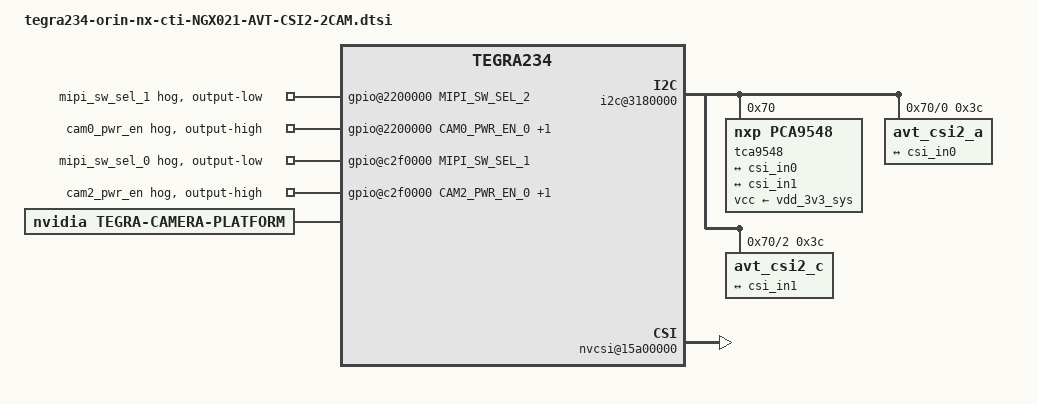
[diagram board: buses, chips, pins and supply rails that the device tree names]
#include "dt-bindings/gpio/tegra234-gpio.h"

#define CAMERA_I2C_MUX_BUS(x) (0x1E + x)

#define MIPI_SW_SEL_1	TEGRA234_AON_GPIO(CC,1)
#define MIPI_SW_SEL_2	TEGRA234_MAIN_GPIO(Q,5)

#define CAM0_PWR_EN_0	TEGRA234_MAIN_GPIO(H,6)
#define CAM1_PWR_EN_0	TEGRA234_MAIN_GPIO(AC,0)
#define CAM2_PWR_EN_0 	TEGRA234_AON_GPIO(CC,2)
#define CAM3_PWR_EN_0	TEGRA234_AON_GPIO(CC,3)

//tegra sinteface and lane polarity
#define I2C0_SINTERFACE "serial_a"
#define I2C1_SINTERFACE "serial_b"
#define I2C2_SINTERFACE "serial_c"
#define I2C3_SINTERFACE "serial_d"

#define MODE0_I2C0_LANES "4"
#define MODE0_I2C1_LANES "2"
#define MODE0_I2C2_LANES "4"
#define MODE0_I2C3_LANES "2"

#define I2C0_LANEPOLARITY "6"
#define I2C1_LANEPOLARITY "6"
#define I2C2_LANEPOLARITY "0"
#define I2C3_LANEPOLARITY "0"

#define VI_CSI_PORT_INDEX0 <0>
#define VI_CSI_PORT_INDEX1 <1>
#define VI_CSI_PORT_INDEX2 <2>
#define VI_CSI_PORT_INDEX3 <3>

//This will serve as the default bus_width...
#define BUS_WIDTH_INDEX0 <4>
#define BUS_WIDTH_INDEX1 <2>
#define BUS_WIDTH_INDEX2 <4>
#define BUS_WIDTH_INDEX3 <2>

#define PIX_CLK_HZ "750000000"
//#define PIX_CLK_HZ "375000000"


#define AVT_MODE_0 \
	discontinuous_clk = "no";  \
    cil_settletime = "0"; \
    embedded_metadata_height = "0"; \
    mclk_khz = "24000"; \
    phy_mode = "DPHY"; \
    dpcm_enable = "false"; \
   	csi_pixel_bit_depth = "4"; \
   	active_w = "5488"; \
   	active_h = "4112"; \
   	pixel_t = "bayer_bggr"; \
    readout_orientation = "0"; \
    line_length = "5488"; \
    inherent_gain = "1"; \
    mclk_multiplier = "31.25"; \
    pix_clk_hz = PIX_CLK_HZ; \
    gain_factor = "16"; \
   	framerate_factor = "1000000"; \
    exposure_factor = "1000000"; \
   	min_gain_val = "16"; \
    max_gain_val = "256"; \
    step_gain_val = "1"; \
    min_hdr_ratio = "1"; \
    max_hdr_ratio = "64"; \
   	min_framerate = "1500000"; \
    max_framerate = "30000000"; \
    step_framerate = "1"; \
    min_exp_time = "34"; \
    max_exp_time = "550385"; \
    step_exp_time = "1";

#define AVT_NODE_COMMON \
	status = "okay"; \
	clocks = <&bpmp_clks TEGRA234_CLK_EXTPERIPH1>, \
             <&bpmp_clks TEGRA234_CLK_PLLP_OUT0>; \
	clock-names = "extperiph1", "pllp_grtba"; \
	mclk = "extperiph1"; \
	compatible = "alliedvision,avt_csi2"; \
	csi_lanes = <4>; 

/ {
	//MAIN
	gpio@2200000 {
		status = "okay";
		camera-control-low {
			gpio-hog;
			output-low;
			gpios = <MIPI_SW_SEL_2 0>; //force x4 lanes
			label = "mipi_sw_sel_1";
			status = "okay";
		};
		camera-control-high {
			gpio-hog;
			output-high;
			gpios = <CAM0_PWR_EN_0 0 CAM1_PWR_EN_0 0>; //these are implemented in the main gpio controller
			label = "cam0_pwr_en","cam1_pwr_en";
			status = "okay";
		};
	};

	//AON
	gpio@c2f0000 {
		status = "okay";
		camera-control-low-aon {
			gpio-hog;
			output-low;
			gpios = <MIPI_SW_SEL_1 0>;
			label = "mipi_sw_sel_0";
			status = "okay";
		};
		camera-control-high-aon {
			gpio-hog;
			output-high;
			gpios = <CAM2_PWR_EN_0 0 CAM3_PWR_EN_0 0>;
			label = "cam2_pwr_en","cam3_pwr_en";
			status = "okay";
		};
	};

	i2c@3180000 {

		tca9548@70 {
			compatible = "nxp,pca9548";
			reg = <0x70>;
			#address-cells = <1>;
			#size-cells = <0>;
			skip_mux_detect = "yes";
			vcc-supply = <&vdd_3v3_sys>;
			force_bus_start = <CAMERA_I2C_MUX_BUS(0)>;
			status = "okay";
			
			i2c@0 {
				reg = <0>;
				i2c-mux,deselect-on-exit;
				#address-cells = <1>;
				#size-cells = <0>;
				status = "okay";

				avt_csi2_a@3c {
					AVT_NODE_COMMON
					devnode = "video0";
					reg = <0x3c>;

					mode0 {
						tegra_sinterface = I2C0_SINTERFACE;
						num_lanes = MODE0_I2C0_LANES;
						lane_polarity = I2C0_LANEPOLARITY;
						vc_id = "0";
						AVT_MODE_0
					};
					ports {
						#address-cells = <1>;
						#size-cells = <0>;
						port@0 {
							reg = <0>;
							cam_out0: endpoint {
								vc-id = <0>;
								port-index = VI_CSI_PORT_INDEX0;
								bus-width = BUS_WIDTH_INDEX0;
								remote-endpoint = <&csi_in0>;
							};
						};
					};
				};
			};
			i2c@1 {
				reg = <1>;
				i2c-mux,deselect-on-exit;
				#address-cells = <1>;
				#size-cells = <0>;
				status = "disabled";
				
			};	
			i2c@2 {
				reg = <2>;
				i2c-mux,deselect-on-exit;
				#address-cells = <1>;
				#size-cells = <0>;
				status = "okay";
				avt_csi2_c@3c {
					AVT_NODE_COMMON
					devnode = "video2";
					reg = <0x3c>;

					mode0 {
						tegra_sinterface = I2C2_SINTERFACE;
						num_lanes = MODE0_I2C2_LANES;
						lane_polarity = I2C2_LANEPOLARITY;
						AVT_MODE_0
						vc_id = "0";
					};
					ports {
						#address-cells = <1>;
						#size-cells = <0>;
						port@0 {
							reg = <0>;
							cam_out1: endpoint {
								vc-id = <0>;
								port-index = VI_CSI_PORT_INDEX2;
								bus-width = BUS_WIDTH_INDEX2;
								remote-endpoint = <&csi_in1>;	
							};
						};
					};
				};
			};
			i2c@3 {
				reg = <3>;
				i2c-mux,deselect-on-exit;
				#address-cells = <1>;
				#size-cells = <0>;
				status = "disabled";
				
			};
		};
	};

	tegra-capture-vi {
		num-channels = <2>;
		status = "okay";
		ports {
			#address-cells = <1>;
			#size-cells = <0>;
			port@0 {
				status = "okay";
				reg = <0>;
				vi_in0: endpoint {
					status = "okay";
					vc-id = <0>;
					port-index = VI_CSI_PORT_INDEX0;
					bus-width = BUS_WIDTH_INDEX0;
					remote-endpoint = <&csi_out0>;
				};
			};
			port@1 {
				status = "okay";
				reg = <1>;
				vi_in1: endpoint {
					status = "okay";
					vc-id = <0>;
					port-index = VI_CSI_PORT_INDEX2;
					bus-width = BUS_WIDTH_INDEX2;
					remote-endpoint = <&csi_out1>;
				};
			};
		};
	};

	host1x@13e00000 {
		nvcsi@15a00000 {
			num-channels = <2>;
			#address-cells = <1>;
			#size-cells = <0>;
			status = "okay";
			channel@0 {
				status = "okay";
				reg = <0>;
				ports {
					#address-cells = <1>;
					#size-cells = <0>;
					status = "okay";
					port@0 {
						status = "okay";
						reg = <0>;
						csi_in0: endpoint@0 {
							status = "okay";
							port-index = VI_CSI_PORT_INDEX0;
							bus-width = BUS_WIDTH_INDEX0;
							remote-endpoint = <&cam_out0>;
						};
					};
					port@1 {
						status = "okay";
						reg = <1>;
						csi_out0: endpoint@1 {
							status = "okay";
							remote-endpoint = <&vi_in0>;
						};
					};
				};
			};
			channel@1 {
				status = "okay";
				reg = <1>;
				ports {
					#address-cells = <1>;
					#size-cells = <0>;
					status = "okay";
					port@0 {
						status = "okay";
						reg = <0>;
						csi_in1: endpoint@2 {
							status = "okay";
							port-index = VI_CSI_PORT_INDEX2;
							bus-width = BUS_WIDTH_INDEX2;
							remote-endpoint = <&cam_out1>;
						};
					};
					port@1 {
						status = "okay";
						reg = <1>;
						csi_out1: endpoint@3 {
							remote-endpoint = <&vi_in1>;
						};
					};
				};
			};
		};
	};
	
	tegra-camera-platform {
		compatible = "nvidia, tegra-camera-platform";
		num_csi_lanes = <8>;
		max_lane_speed = <1500000>;
		min_bits_per_pixel = <10>;
		vi_peak_byte_per_pixel = <2>;
		vi_bw_margin_pct = <25>;
		max_pixel_rate = <240000>;
		isp_peak_byte_per_pixel = <5>;
		isp_bw_margin_pct = <25>;
	};

};

